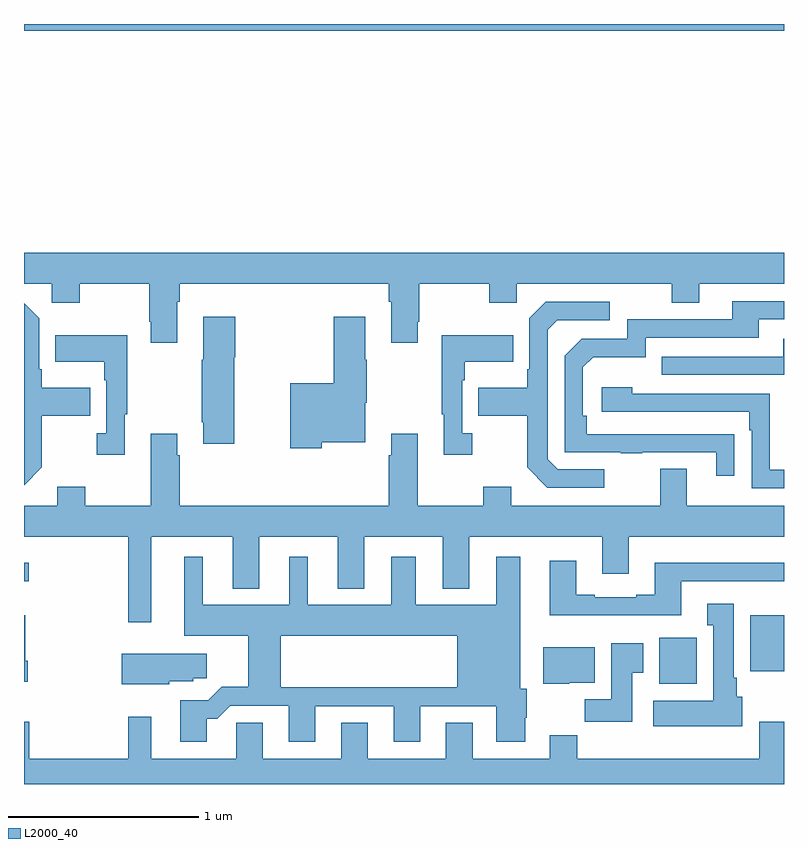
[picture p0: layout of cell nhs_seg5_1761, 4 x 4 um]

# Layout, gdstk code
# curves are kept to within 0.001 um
import gdstk
lib = gdstk.Library(unit=1e-6, precision=1e-09)
def R(c, l, rs):  # rectangles x0, y0, x1, y1
    for r in rs: c.add(gdstk.rectangle(r[:2], r[2:], *l))
def P(c, l, *ps):  # polygons
    for p in ps: c.add(gdstk.Polygon(p, *l))
L2000_40 = (2000, 40)

nhs_seg5_1761 = lib.new_cell('nhs_seg5_1761')
R(nhs_seg5_1761, L2000_40, [(220.343,849.326,220.54,849.568), (220.823,849.392,221,849.688), (217,849.867,217.024,849.964), (217,852.764,221,852.799)])
P(nhs_seg5_1761, L2000_40, [(217,851.432),(217.146,851.432),(217.146,851.333),(217.293,851.333),(217.293,851.432),(217.66,851.432),(217.66,851.233),(217.667,851.233),(217.667,851.121),(217.807,851.121),(217.807,851.336),(217.82,851.336),(217.82,851.432),(218.921,851.432),(218.921,851.336),(218.933,851.336),(218.933,851.121),(219.073,851.121),(219.073,851.233),(219.081,851.233),(219.081,851.432),(219.448,851.432),(219.448,851.333),(219.594,851.333),(219.594,851.432),(220.408,851.432),(220.408,851.333),(220.555,851.333),(220.555,851.432),(221,851.432),(221,851.596),(217,851.596)],
  [(220.739,850.64),(219.962,850.641),(219.962,850.738),(219.942,850.738),(219.942,850.992),(219.995,851.045),(220.272,851.045),(220.272,851.148),(220.867,851.148),(220.867,851.244),(221,851.244),(221,851.34),(220.727,851.34),(220.727,851.244),(220.176,851.244),(220.176,851.142),(219.936,851.142),(219.846,851.052),(219.846,850.545),(220.141,850.545),(220.141,850.54),(220.253,850.54),(220.253,850.545),(220.643,850.545),(220.643,850.422),(220.739,850.422)],
  [(220.054,850.455),(219.81,850.455),(219.756,850.509),(219.756,851.19),(219.807,851.241),(220.084,851.241),(220.084,851.337),(219.747,851.337),(219.66,851.25),(219.66,850.981),(219.648,850.981),(219.648,850.885),(219.391,850.885),(219.391,850.738),(219.648,850.738),(219.648,850.465),(219.753,850.359),(220.054,850.359)],
  [(217.093,850.465),(217.093,850.738),(217.349,850.738),(217.349,850.885),(217.093,850.885),(217.093,850.981),(217.08,850.981),(217.08,851.25),(217,851.33),(217,850.372)],
  [(218.106,851.044),(218.111,851.044),(218.111,851.257),(217.943,851.257),(217.943,851.033),(217.936,851.033),(217.936,850.702),(217.943,850.702),(217.943,850.59),(218.106,850.59)],
  [(218.568,850.598),(218.797,850.598),(218.797,850.805),(218.805,850.805),(218.805,851.033),(218.797,851.033),(218.797,851.257),(218.63,851.257),(218.63,850.909),(218.402,850.909),(218.402,850.565),(218.568,850.565)],
  [(219.358,850.646),(219.306,850.646),(219.306,850.925),(219.319,850.925),(219.319,851.021),(219.575,851.021),(219.575,851.161),(219.198,851.161),(219.198,850.745),(219.209,850.745),(219.209,850.533),(219.358,850.533)],
  [(217.531,850.745),(217.543,850.745),(217.543,851.161),(217.165,851.161),(217.165,851.021),(217.422,851.021),(217.422,850.925),(217.434,850.925),(217.434,850.646),(217.383,850.646),(217.383,850.533),(217.531,850.533)],
  [(221,851.143),(220.997,851.143),(220.997,851.049),(220.357,851.049),(220.357,850.953),(221,850.953)],
  [(221,850.452),(220.926,850.452),(220.926,850.854),(220.202,850.854),(220.202,850.888),(220.041,850.888),(220.041,850.758),(220.817,850.758),(220.817,850.661),(220.83,850.661),(220.83,850.356),(221,850.356)],
  [(217.669,850.1),(218.099,850.1),(218.099,849.827),(218.239,849.827),(218.239,850.1),(218.651,850.1),(218.651,849.827),(218.791,849.827),(218.791,850.1),(219.203,850.1),(219.203,849.827),(219.343,849.827),(219.343,850.1),(220.043,850.1),(220.043,849.906),(220.183,849.906),(220.183,850.1),(221,850.1),(221,850.264),(220.489,850.264),(220.489,850.459),(220.349,850.459),(220.349,850.264),(219.565,850.264),(219.565,850.363),(219.418,850.363),(219.418,850.264),(219.073,850.264),(219.073,850.642),(218.933,850.642),(218.933,850.529),(218.921,850.529),(218.921,850.264),(217.82,850.264),(217.82,850.529),(217.807,850.529),(217.807,850.642),(217.667,850.642),(217.667,850.264),(217.323,850.264),(217.323,850.363),(217.175,850.363),(217.175,850.264),(217,850.264),(217,850.1),(217.548,850.1),(217.548,849.651),(217.669,849.651)],
  [(217.823,849.24),(217.823,849.021),(217.963,849.021),(217.963,849.143),(218.018,849.143),(218.085,849.21),(218.393,849.21),(218.393,849.021),(218.533,849.021),(218.533,849.207),(218.945,849.207),(218.945,849.021),(219.085,849.021),(219.085,849.207),(219.485,849.207),(219.485,849.021),(219.637,849.021),(219.637,849.148),(219.645,849.148),(219.645,849.3),(219.613,849.3),(219.613,849.994),(219.485,849.994),(219.485,849.742),(219.061,849.742),(219.061,849.994),(218.933,849.994),(218.933,849.742),(218.494,849.742),(218.494,849.994),(218.396,849.994),(218.396,849.742),(217.942,849.742),(217.942,849.994),(217.844,849.994),(217.844,849.578),(218.18,849.578),(218.18,849.311),(218.042,849.311),(218.039,849.308),(218.351,849.308),(218.351,849.578),(219.281,849.578),(219.281,849.308),(218.039,849.308),(217.971,849.24)],
  [(220.459,849.867),(221,849.867),(221,849.964),(220.319,849.964),(220.319,849.796),(220.223,849.796),(220.223,849.783),(220.003,849.783),(220.003,849.796),(219.907,849.796),(219.907,849.973),(219.767,849.973),(219.767,849.686),(220.459,849.686)],
  [(220.78,849.258),(220.75,849.258),(220.75,849.358),(220.735,849.358),(220.735,849.748),(220.595,849.748),(220.595,849.635),(220.628,849.635),(220.628,849.238),(220.311,849.238),(220.311,849.104),(220.78,849.104)],
  [(217.019,849.448),(217.006,849.448),(217.006,849.688),(217,849.688),(217,849.336),(217.019,849.336)],
  [(220.201,849.385),(220.258,849.385),(220.258,849.541),(220.091,849.541),(220.091,849.244),(219.952,849.244),(219.952,849.126),(220.201,849.126)],
  [(219.87,849.332),(220.003,849.332),(220.003,849.52),(219.734,849.52),(219.734,849.326),(219.87,849.326)],
  [(217.764,849.341),(217.89,849.341),(217.89,849.355),(217.963,849.355),(217.963,849.484),(217.514,849.484),(217.514,849.323),(217.764,849.323)],
  [(221,849.127),(220.871,849.127),(220.871,848.932),(219.911,848.932),(219.911,849.056),(219.767,849.056),(219.767,848.932),(219.361,848.932),(219.361,849.122),(219.221,849.122),(219.221,848.932),(218.809,848.932),(218.809,849.122),(218.669,849.122),(218.669,848.932),(218.257,848.932),(218.257,849.122),(218.118,849.122),(218.118,848.932),(217.669,848.932),(217.669,849.154),(217.548,849.154),(217.548,848.932),(217.028,848.932),(217.028,849.127),(217,849.127),(217,848.799),(221,848.799)])

lib.write_gds('nhs_seg5_1761.gds')
